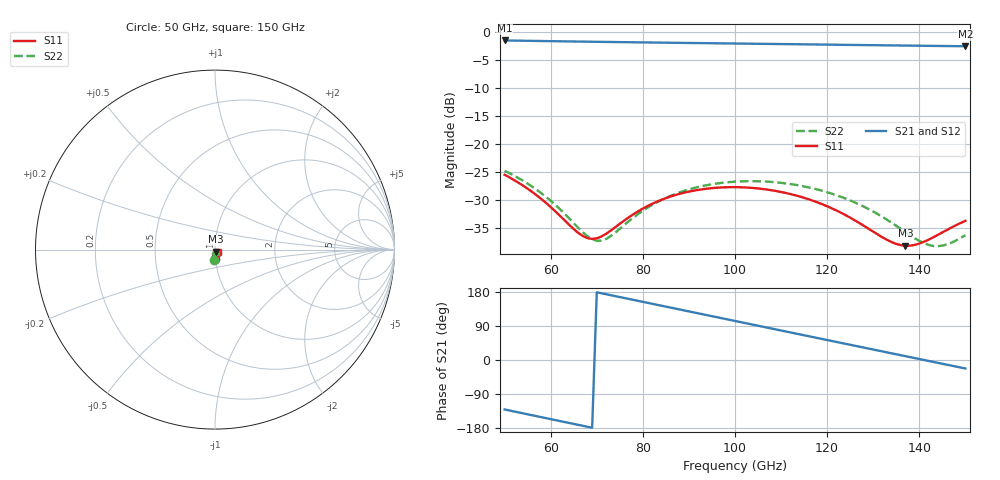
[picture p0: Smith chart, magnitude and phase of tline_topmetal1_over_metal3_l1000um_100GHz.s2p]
#  GHZ S DB R 50
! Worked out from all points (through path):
!   101 points, 50 GHz to 150 GHz, reference 50 ohm
!   highest |S21| = -1.46 dB at 50 GHz (marker M1); lowest = -2.5 dB at 150 GHz (marker M2)
!   group delay of S21, straight-line fit = 7 ps
!   lowest |S11| = -38.2 dB at 137 GHz (marker M3), VSWR 1.03, Z = 50.4 - j1.17 ohm
!   |S11| at or under -10 dB: start of sweep to end of sweep
!   |S22| runs from -38.2 to -24.8 dB; largest |S21 - S12| = 1.4e-13
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50  -25.47 -92.1  -1.46 -130.6  -1.46 -130.6  -24.76 -95.2
55  -27.97 -98.8  -1.52 -143.3  -1.52 -143.3  -27.06 -103.3
59  -30.52 -100.7  -1.57 -153.4  -1.57 -153.4  -29.44 -107.2
63  -33.61 -95.8  -1.62 -163.6  -1.62 -163.6  -32.42 -106.0
67  -36.45 -77.5  -1.66 -173.7  -1.66 -173.7  -35.79 -93.4
70  -36.84 -56.1  -1.70 178.7  -1.70 178.7  -37.28 -72.2
72  -36.05 -44.2  -1.72 173.7  -1.72 173.7  -36.97 -56.7
78  -32.51 -30.6  -1.78 158.5  -1.78 158.5  -33.11 -35.0
84  -29.97 -33.8  -1.84 143.4  -1.84 143.4  -30.00 -36.6
92  -28.18 -45.8  -1.92 123.2  -1.92 123.2  -27.67 -48.6
100  -27.69 -60.4  -2.00 103.0  -2.00 103.0  -26.71 -64.0
104  -27.85 -67.9  -2.04 93.0  -2.04 93.0  -26.62 -72.1
108  -28.25 -75.3  -2.08 82.9  -2.08 82.9  -26.76 -80.2
112  -28.92 -82.3  -2.12 72.8  -2.12 72.8  -27.13 -88.2
117  -30.15 -89.9  -2.17 60.3  -2.17 60.3  -27.93 -97.7
126  -33.62 -97.1  -2.26 37.7  -2.26 37.7  -30.42 -111.9
134  -37.52 -83.4  -2.34 17.6  -2.34 17.6  -34.06 -116.2
137  -38.17 -70.6  -2.37 10.1  -2.37 10.1  -35.73 -112.8
141  -37.47 -54.2  -2.41 0.1  -2.41 0.1  -37.71 -100.4
144  -36.23 -46.8  -2.44 -7.4  -2.44 -7.4  -38.25 -86.0
147  -34.91 -43.7  -2.47 -14.9  -2.47 -14.9  -37.61 -72.5
150  -33.71 -43.7  -2.49 -22.4  -2.49 -22.4  -36.29 -63.9
